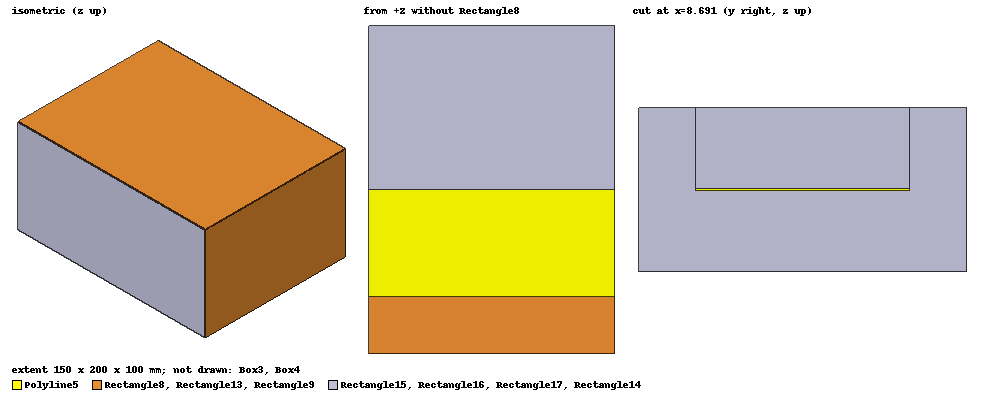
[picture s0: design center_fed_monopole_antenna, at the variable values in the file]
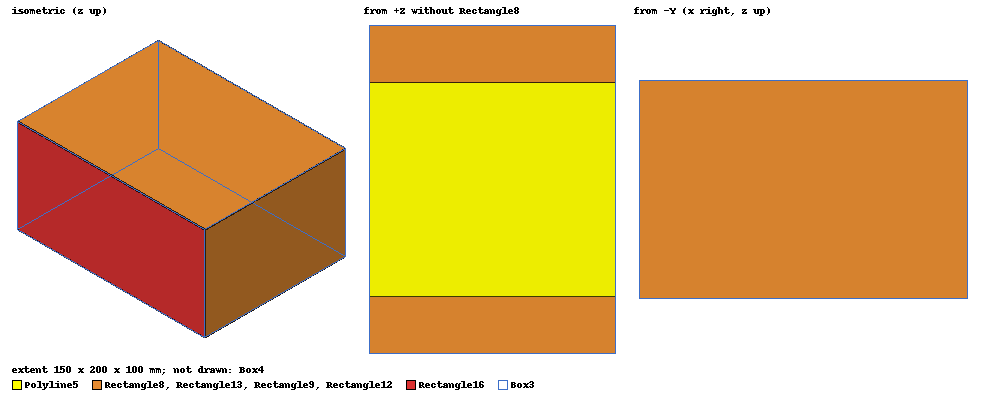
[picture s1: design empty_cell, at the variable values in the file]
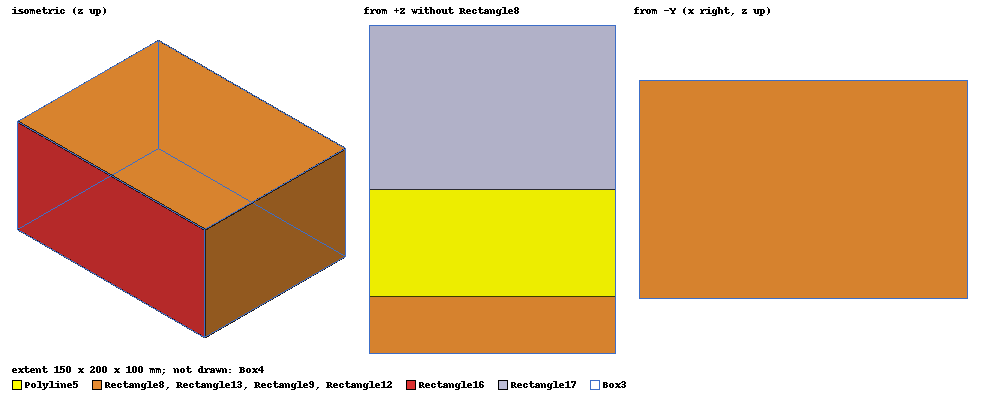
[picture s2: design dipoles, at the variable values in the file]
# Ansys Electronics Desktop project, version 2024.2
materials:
  vacuum: permittivity=1
  copper: permeability=0.999991 conductivity=58000000
  pec: conductivity=1e+30

design center_fed_monopole_antenna (HFSS, HFSS Terminal Network, model units mm)
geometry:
  coordinate_system RelativeCS8 = origin=(8.1906568mm, 0.2mm, 0.04546245mm) x=(1mm, 0mm, 0mm) y=(0mm, 1mm, 0mm)
  Rectangle7 = rectangle(corner=(-45mm, 0mm, 0mm), z_size=-50mm, x_size=95mm) in RelativeCS8
  Cylinder1 [copper] = cylinder(axis=Z, base_centre=(0mm, 0mm, 0mm), radius=0.1mm, height=-5mm) in RelativeCS8
  Cylinder2 = cylinder(axis=Z, base_centre=(1mm, 0mm, 0mm), radius=0.1mm, height=-1.5mm) in RelativeCS8
  Cylinder3 = cylinder(axis=X, base_centre=(1mm, 0mm, -1.5mm), radius=0.1mm, height=-1mm) in RelativeCS8
  Cylinder1.unite(Cylinder2, Cylinder3)
  Rectangle8 = rectangle(corner=(75mm, 100mm, 0mm), x_size=-150mm, y_size=-200mm) in RelativeCS8
  Rectangle9 = rectangle(corner=(75mm, 100mm, -100mm), z_size=100mm, x_size=-150mm) in RelativeCS8
  Rectangle10 = rectangle(corner=(-75mm, 100mm, -100mm), y_size=-200mm, z_size=100mm) in RelativeCS8
  Rectangle11 = rectangle(corner=(75mm, 100mm, 0mm), y_size=-200mm, z_size=-100mm) in RelativeCS8
  Rectangle12 = rectangle(corner=(75mm, -100mm, -100mm), z_size=100mm, x_size=-150mm) in RelativeCS8
  Rectangle13 = rectangle(corner=(75mm, 100mm, -100mm), x_size=-150mm, y_size=-200mm) in RelativeCS8
  Box3 [vacuum] = box(corner=(0mm, 0mm, 0mm), size=(300mm, 200mm, 100mm)) in RelativeCS8
  coordinate_system RelativeCS1 = origin=(0mm, 0mm, 50mm) x=(1mm, 0mm, 0mm) y=(0mm, 1mm, 0mm) in RelativeCS8
  Box3.scale(0.5, 1, 1) in RelativeCS1
  Polyline5 [copper] = polyline((0mm, 35mm, 0mm) (0mm, 165mm, 0mm)) in RelativeCS1
  Polyline5.sweep_along_vector((300mm, 0mm, 0mm)) in RelativeCS1
  Polyline5.sweep_along_vector((0mm, 0mm, 1mm)) in RelativeCS1
  Polyline5.move(0mm, 0mm, -0.5mm) in RelativeCS1
  Polyline5.scale(0.5, 1, 1) in RelativeCS1
  Rectangle14 = rectangle(corner=(75mm, 35mm, 0.5mm), y_size=130mm, z_size=49.5mm) in RelativeCS1
  Rectangle15 = rectangle(corner=(0mm, 200mm, -50mm), y_size=-200mm, z_size=100mm) in RelativeCS1
  Rectangle16 = rectangle(corner=(150mm, 200mm, -50mm), y_size=-200mm, z_size=100mm) in RelativeCS1
  coordinate_system RelativeCS3 = origin=(75mm, 165mm, 50mm) x=(1mm, 0mm, 0mm) y=(0mm, 1mm, 0mm) in RelativeCS1
  coordinate_system RelativeCS4 = origin=(0mm, -65mm, 0mm) x=(1mm, 0mm, 0mm) y=(0mm, 1mm, 0mm) in RelativeCS3
  coordinate_system RelativeCS6 = origin=(-7.9906568mm, -0.2mm, -4.9954624mm) x=(1mm, 0mm, 0mm) y=(0mm, 1mm, 0mm) in RelativeCS4
  Polyline6 = polyline(xyz in mm: (0, 0, 2.6607784) (-0.0011431925, 0, 3.9358706) (-0.0011431925, 0.1, 3.9358706) (0, 0.1, 2.6607784) (0, 0, 2.6607784), closed, covered) in RelativeCS6
  [Rectangle14, Rectangle15, Rectangle16, Cylinder1, Box3, Polyline5].move(-75mm, -100mm, -100mm) in RelativeCS8
  coordinate_system RelativeCS9 = origin=(-75mm, 100mm, -100mm) x=(1mm, 0mm, 0mm) y=(0mm, 1mm, 0mm) in RelativeCS8
  coordinate_system RelativeCS10 = origin=(0mm, 0mm, -60mm) x=(1mm, 0mm, 0mm) y=(0mm, 1mm, 0mm) in RelativeCS9
  Box4 [vacuum] = box(corner=(0mm, 0mm, 0mm), size=(150mm, -200mm, 220mm)) in RelativeCS10
  Cylinder1.move(0mm, -109.5mm, 247mm) in RelativeCS10
  Cylinder1.move(75mm, 144.5mm, -147mm) in RelativeCS10
  Cylinder1.move(1.4210855e-14mm, 0mm, -0.05mm) in RelativeCS10
  Box4.scale(1, 1.5, 1) in RelativeCS10
  Box4.move(0mm, 50mm, 0mm) in RelativeCS10
  Cylinder1.move(0mm, 65mm, 2.8421709e-14mm) in RelativeCS10
  coordinate_system RelativeCS11 = origin=(235mm, 130mm, 0mm) x=(1mm, 0mm, 0mm) y=(0mm, 1mm, 0mm) in RelativeCS10
  coordinate_system RelativeCS12 = origin=(-85mm, -165mm, 110.5mm) x=(1mm, 0mm, 0mm) y=(0mm, 1mm, 0mm) in RelativeCS11
  coordinate_system RelativeCS13 = origin=(-75mm, -65mm, 49.5mm) x=(1mm, 0mm, 0mm) y=(0mm, 1mm, 0mm) in RelativeCS12
  Cylinder4 [copper] = cylinder(axis=Z, base_centre=(75mm, -165.1mm, 159.95mm), radius=0.14142136mm, height=0.05mm) in RelativeCS13
  Cylinder4.move(0.041421356mm, 65.1mm, 0mm) in RelativeCS13
  Cylinder4.move(-0.041421356mm, -0.24142136mm, 0mm) in RelativeCS13
  coordinate_system RelativeCS14 = origin=(235mm, 130mm, 0mm) x=(1mm, 0mm, 0mm) y=(0mm, 1mm, 0mm) in RelativeCS13
  coordinate_system RelativeCS15 = origin=(-85mm, -165mm, 110.5mm) x=(1mm, 0mm, 0mm) y=(0mm, 1mm, 0mm) in RelativeCS14
  Cylinder4.move(1.2414214mm, 0.24142136mm, 2.8421709e-14mm) in RelativeCS15
  Cylinder4.move(-1.2414214mm, 0mm, 0mm) in RelativeCS15
  Cylinder4.move(-75.1mm, 100mm, -160.05mm) in RelativeCS13
  Cylinder4.move(0.1mm, 0mm, 0.05mm) in RelativeCS13
  Circle1 = circle(normal=Z, centre=(1mm, 0mm, 0mm), radius=0.25mm) in RelativeCS13
  Box4.subtract(Circle1)
  Cylinder5 [copper] = cylinder(axis=Z, base_centre=(1mm, 0mm, -0.05mm), radius=0.1mm, height=0.05mm) in RelativeCS13
  Circle2 = circle(normal=Z, centre=(1mm, 0mm, 0mm), radius=0.1mm) in RelativeCS13
  Circle3 = circle(normal=Z, centre=(1mm, 0mm, 0mm), radius=0.2mm) in RelativeCS13
  Box3.subtract(Circle3)
  Circle4 = circle(normal=Z, centre=(1mm, 0mm, 0mm), radius=0.2mm) in RelativeCS13
  Box3.subtract(Circle4)
  Circle5 = circle(normal=Z, centre=(1mm, 0mm, 0mm), radius=0.2mm) in RelativeCS13
  Box3.subtract(Circle5)
  Circle6 = circle(normal=Z, centre=(1mm, 0mm, 0mm), radius=0.2mm) in RelativeCS13
  Rectangle8.subtract(Circle6)
  Circle7 = circle(normal=Z, centre=(1mm, 0mm, 0mm), radius=0.2mm) in RelativeCS13
  pecCap1 [pec] = sweep_along_normal(Circle7.face(at (9.19066, 0.2, 0.0454624)), length=0.05mm)
  Polyline7 = polyline((-75mm, 0mm, 0mm) (-75mm, 0mm, -49.5mm)) in RelativeCS13
  Polyline8 = polyline((75mm, 0mm, 0mm) (75mm, 0mm, -49.5mm)) in RelativeCS13
  point Point1 = (0mm, 0mm, -24.75mm) in RelativeCS13
  coordinate_system RelativeCS16 = origin=(-75mm, 0mm, 0mm) x=(1mm, 0mm, 0mm) y=(0mm, 1mm, 0mm) in RelativeCS13
  point Point2 = (0mm, 0mm, -24.75mm) in RelativeCS16
  Rectangle17 = rectangle(corner=(0mm, 0mm, -24.75mm), x_size=150mm, y_size=100mm) in RelativeCS16
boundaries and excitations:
  PerfE1: Perfect E Objects=[Rectangle13, Rectangle12, Rectangle8, Rectangle9]
  Rad1: Radiation Objects=Box4
  Cylinder5_T1: Terminal port=1 Faces=Cylinder5.face(at (9.19066, 0.2, 0.0454624)) TerminalResistance=50ohm
  1: Wave Port Faces=Circle7.face(at (9.19066, 0.2, 0.0454624)) WavePortType=Terminal NumModes=1
  2: Wave Port Objects=Rectangle10 WavePortType=Modal NumModes=2 Modes{Mode1{IntLine{(-66.809343, 0.2, -49.45453755) -> (-66.809343, 0.2, 0.04546245)} CharImp=Zpi} Mode2{IntLine{(-66.809343, 65.2, -49.95453755) -> (-66.809343, 100.2, -49.95453755)} CharImp=Zpi}}
  3: Wave Port Objects=Rectangle11 WavePortType=Modal NumModes=2 Modes{Mode1{IntLine{(83.190657, 0.2, -49.45453755) -> (83.190657, 0.2, 0.04546245)} CharImp=Zpi} Mode2{IntLine{(83.190657, 65.2, -49.95453755) -> (83.190657, 100.2, -49.95453755)} CharImp=Zpi}}
  reference conductors: Rectangle8
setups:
  Setup1: HfssDrivenAuto AutoSolverSetting=Balanced Type=Interpolating
    sweep Sweep: 0GHz to 1GHz, 501 points;
  Setup2: HfssDriven Frequency=760MHz MaxDeltaS=0.02 MaximumPasses=6 MinimumPasses=1 MinimumConvergedPasses=1 PercentRefinement=30 BasisOrder=1 PortAccuracy=2 DrivenSolverType="Direct Solver"
    sweep Sweep: 0MHz to 1GHz, 401 points; Type=Interpolating InterpTolerance=0.5 InterpMaxSolns=250 MinSolvedFreq=0.01GHz PassivityErrorTolerance=0.0001
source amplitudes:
  1:1: (2600*2600) W 0deg
  2:1, 3:1: 0W 0deg
  2:2, 3:2: 0V 0deg
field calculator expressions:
  U_1 = Complex_Constant(0.000924799403163378, 0.000735161421858548)
  U_2 = Complex_Constant(-0.000551887143689607, -0.000778771115483979)
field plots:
  Vector_E1: E Field over Rectangle7.face on Setup1 : LastAdaptive at Freq=0.55GHz Phase=0deg
  Vector_H2: H Field over Rectangle7.face on Setup1 : LastAdaptive at Freq=0.55GHz Phase=0deg
  ABS_Q1: Q Fields over Cylinder1.face(all 8) on Setup1 : LastAdaptive at Freq=0.55GHz Phase=0deg
  Mag_Jsurf1: Jsurf over Cylinder1.face(all 8) on Setup1 : LastAdaptive at Freq=0.55GHz Phase=0deg
  Vector_E2: E Field over Rectangle17.face on Setup1 : LastAdaptive at Freq=0.55GHz Phase=0deg
  Vector_H1: H Field over Rectangle17.face on Setup1 : LastAdaptive at Freq=0.55GHz Phase=0deg
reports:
  Antenna to waveport 2: dB(St(2:1,Cylinder5_T1)), dB(St(2:2,Cylinder5_T1)) vs Freq on Setup1 : Sweep; markers MX1 at x=5.498366e+08
  Antenna to waveport 3: dB(St(3:1,Cylinder5_T1)), dB(St(3:2,Cylinder5_T1)) vs Freq on Setup1 : Sweep; markers MX1 at x=5.4981242e+08

design empty_cell (HFSS, HFSS Terminal Network, model units mm)
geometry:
  coordinate_system RelativeCS8 = origin=(8.1906568mm, 0.2mm, 0.04546245mm) x=(1mm, 0mm, 0mm) y=(0mm, 1mm, 0mm)
  Rectangle7 = rectangle(corner=(-45mm, 0mm, 0mm), z_size=-50mm, x_size=95mm) in RelativeCS8
  Rectangle8 = rectangle(corner=(75mm, 100mm, 0mm), x_size=-150mm, y_size=-200mm) in RelativeCS8
  Rectangle9 = rectangle(corner=(75mm, 100mm, -100mm), z_size=100mm, x_size=-150mm) in RelativeCS8
  Rectangle10 = rectangle(corner=(-75mm, 100mm, -100mm), y_size=-200mm, z_size=100mm) in RelativeCS8
  Rectangle11 = rectangle(corner=(75mm, 100mm, 0mm), y_size=-200mm, z_size=-100mm) in RelativeCS8
  Rectangle12 = rectangle(corner=(75mm, -100mm, -100mm), z_size=100mm, x_size=-150mm) in RelativeCS8
  Rectangle13 = rectangle(corner=(75mm, 100mm, -100mm), x_size=-150mm, y_size=-200mm) in RelativeCS8
  Box3 [vacuum] = box(corner=(0mm, 0mm, 0mm), size=(300mm, 200mm, 100mm)) in RelativeCS8
  coordinate_system RelativeCS1 = origin=(0mm, 0mm, 50mm) x=(1mm, 0mm, 0mm) y=(0mm, 1mm, 0mm) in RelativeCS8
  Box3.scale(0.5, 1, 1) in RelativeCS1
  Polyline5 [copper] = polyline((0mm, 35mm, 0mm) (0mm, 165mm, 0mm)) in RelativeCS1
  Polyline5.sweep_along_vector((300mm, 0mm, 0mm)) in RelativeCS1
  Polyline5.sweep_along_vector((0mm, 0mm, 1mm)) in RelativeCS1
  Polyline5.move(0mm, 0mm, -0.5mm) in RelativeCS1
  Polyline5.scale(0.5, 1, 1) in RelativeCS1
  Rectangle14 = rectangle(corner=(75mm, 35mm, 0.5mm), y_size=130mm, z_size=49.5mm) in RelativeCS1
  Rectangle15 = rectangle(corner=(0mm, 200mm, -50mm), y_size=-200mm, z_size=100mm) in RelativeCS1
  Rectangle16 = rectangle(corner=(150mm, 200mm, -50mm), y_size=-200mm, z_size=100mm) in RelativeCS1
  coordinate_system RelativeCS3 = origin=(75mm, 165mm, 50mm) x=(1mm, 0mm, 0mm) y=(0mm, 1mm, 0mm) in RelativeCS1
  coordinate_system RelativeCS4 = origin=(0mm, -65mm, 0mm) x=(1mm, 0mm, 0mm) y=(0mm, 1mm, 0mm) in RelativeCS3
  coordinate_system RelativeCS6 = origin=(-7.9906568mm, -0.2mm, -4.9954624mm) x=(1mm, 0mm, 0mm) y=(0mm, 1mm, 0mm) in RelativeCS4
  Polyline6 = polyline(xyz in mm: (0, 0, 2.6607784) (-0.0011431925, 0, 3.9358706) (-0.0011431925, 0.1, 3.9358706) (0, 0.1, 2.6607784) (0, 0, 2.6607784), closed, covered) in RelativeCS6
  [Rectangle14, Rectangle15, Rectangle16, Box3, Polyline5].move(-75mm, -100mm, -100mm) in RelativeCS8
  coordinate_system RelativeCS9 = origin=(-75mm, 100mm, -100mm) x=(1mm, 0mm, 0mm) y=(0mm, 1mm, 0mm) in RelativeCS8
  coordinate_system RelativeCS10 = origin=(0mm, 0mm, -60mm) x=(1mm, 0mm, 0mm) y=(0mm, 1mm, 0mm) in RelativeCS9
  Box4 [vacuum] = box(corner=(0mm, 0mm, 0mm), size=(150mm, -200mm, 220mm)) in RelativeCS10
  Box4.scale(1, 1.5, 1) in RelativeCS10
  Box4.move(0mm, 50mm, 0mm) in RelativeCS10
  coordinate_system RelativeCS11 = origin=(150mm, 0mm, 60mm) x=(1mm, 0mm, 0mm) y=(0mm, 1mm, 0mm) in RelativeCS10
  coordinate_system RelativeCS12 = origin=(0mm, -35mm, 50.5mm) x=(1mm, 0mm, 0mm) y=(0mm, 1mm, 0mm) in RelativeCS11
  Polyline7 = polyline((0mm, -65mm, 0mm) (0mm, -65mm, 49.5mm)) in RelativeCS12
  Polyline7_1 = Polyline7.duplicate_along_line(step=(-150mm, 0mm, 0mm), total=2) in RelativeCS12
  point Point1 = (-75mm, -65mm, 24.75mm) in RelativeCS12
  coordinate_system RelativeCS13 = origin=(0mm, 35mm, -85mm) x=(1mm, 0mm, 0mm) y=(0mm, 1mm, 0mm) in RelativeCS12
  coordinate_system RelativeCS14 = origin=(0mm, -5mm, -20mm) x=(1mm, 0mm, 0mm) y=(0mm, 1mm, 0mm) in RelativeCS13
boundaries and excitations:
  PerfE1: Perfect E Objects=[Rectangle13, Rectangle12, Rectangle8, Rectangle9]
  Rad1: Radiation Objects=Box4
  1: Wave Port Objects=Rectangle15 WavePortType=Modal NumModes=2 Modes{Mode1{IntLine{(-66.809343, 0.2, -49.45453755) -> (-66.809343, 0.2, 0.04546245)} CharImp=Zpi} Mode2{IntLine{(-66.809343, -64.8, -49.95453755) -> (-66.809343, -99.8, -49.954538)} CharImp=Zpi}}
  2: Wave Port Objects=Rectangle16 WavePortType=Modal NumModes=2 Modes{Mode1{IntLine{(83.190657, 0.2, -49.45453755) -> (83.190657, 0.2, 0.04546245)} CharImp=Zpi} Mode2{IntLine{(83.190657, -64.8, -49.95453755) -> (83.190657, -99.8, -49.954538)} CharImp=Zpi}}
  reference conductors: Rectangle8
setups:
  Setup1: HfssDrivenAuto AutoSolverSetting=Balanced Type=Interpolating
    sweep Sweep: 0GHz to 3GHz, 501 points;
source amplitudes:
  1:1: 1V 0deg
  1:2, 2:1, 2:2: 0V 0deg
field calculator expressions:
  U_2 = Complex_Constant(9.89491006303791, 0.019771581817983)
  U_1 = Complex_Constant(-1.62457557524812, -9.88575991314487)
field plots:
  Vector_E1: E Field over Rectangle7.face on Setup1 : Sweep at Freq=3GHz Phase=0deg
  Vector_H2: H Field over Rectangle7.face on Setup1 : LastAdaptive at Freq=0.55GHz Phase=0deg
  Vector_E2: E Field over Rectangle14.face(at (8.19066, 0.2, -24.7045)) on Setup1 : Sweep at Freq=3GHz Phase=0deg
  Vector_E3: E Field over Rectangle16.face(at (83.1907, 0.2, -49.9545)) on Setup1 : Sweep at Freq=1GHz Phase=0deg
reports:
  Propagation  of TEM and TE01 modes: dB(St(1:2,2:2)) vs Freq on Setup1 : Sweep; dB(St(1:1,2:1)) vs Freq; markers MX1 at x=7.5088132e+08

design dipoles (HFSS, HFSS Terminal Network, model units mm)
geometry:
  coordinate_system RelativeCS8 = origin=(8.1906568mm, 0.2mm, 0.04546245mm) x=(1mm, 0mm, 0mm) y=(0mm, 1mm, 0mm)
  Rectangle7 = rectangle(corner=(-45mm, 0mm, 0mm), z_size=-50mm, x_size=95mm) in RelativeCS8
  Rectangle8 = rectangle(corner=(75mm, 100mm, 0mm), x_size=-150mm, y_size=-200mm) in RelativeCS8
  Rectangle9 = rectangle(corner=(75mm, 100mm, -100mm), z_size=100mm, x_size=-150mm) in RelativeCS8
  Rectangle12 = rectangle(corner=(75mm, -100mm, -100mm), z_size=100mm, x_size=-150mm) in RelativeCS8
  Rectangle13 = rectangle(corner=(75mm, 100mm, -100mm), x_size=-150mm, y_size=-200mm) in RelativeCS8
  Box3 [vacuum] = box(corner=(0mm, 0mm, 0mm), size=(300mm, 200mm, 100mm)) in RelativeCS8
  coordinate_system RelativeCS1 = origin=(0mm, 0mm, 50mm) x=(1mm, 0mm, 0mm) y=(0mm, 1mm, 0mm) in RelativeCS8
  Box3.scale(0.5, 1, 1) in RelativeCS1
  Polyline5 [copper] = polyline((0mm, 35mm, 0mm) (0mm, 165mm, 0mm)) in RelativeCS1
  Polyline5.sweep_along_vector((300mm, 0mm, 0mm)) in RelativeCS1
  Polyline5.sweep_along_vector((0mm, 0mm, 1mm)) in RelativeCS1
  Polyline5.move(0mm, 0mm, -0.5mm) in RelativeCS1
  Polyline5.scale(0.5, 1, 1) in RelativeCS1
  Rectangle14 = rectangle(corner=(75mm, 35mm, 0.5mm), y_size=130mm, z_size=49.5mm) in RelativeCS1
  Rectangle15 = rectangle(corner=(0mm, 200mm, -50mm), y_size=-200mm, z_size=100mm) in RelativeCS1
  Rectangle16 = rectangle(corner=(150mm, 200mm, -50mm), y_size=-200mm, z_size=100mm) in RelativeCS1
  coordinate_system RelativeCS3 = origin=(75mm, 165mm, 50mm) x=(1mm, 0mm, 0mm) y=(0mm, 1mm, 0mm) in RelativeCS1
  coordinate_system RelativeCS4 = origin=(0mm, -65mm, 0mm) x=(1mm, 0mm, 0mm) y=(0mm, 1mm, 0mm) in RelativeCS3
  coordinate_system RelativeCS6 = origin=(-7.9906568mm, -0.2mm, -4.9954624mm) x=(1mm, 0mm, 0mm) y=(0mm, 1mm, 0mm) in RelativeCS4
  Polyline6 = polyline(xyz in mm: (0, 0, 2.6607784) (-0.0011431925, 0, 3.9358706) (-0.0011431925, 0.1, 3.9358706) (0, 0.1, 2.6607784) (0, 0, 2.6607784), closed, covered) in RelativeCS6
  [Rectangle14, Rectangle15, Rectangle16, Box3, Polyline5].move(-75mm, -100mm, -100mm) in RelativeCS8
  coordinate_system RelativeCS9 = origin=(-75mm, 100mm, -100mm) x=(1mm, 0mm, 0mm) y=(0mm, 1mm, 0mm) in RelativeCS8
  coordinate_system RelativeCS10 = origin=(0mm, 0mm, -60mm) x=(1mm, 0mm, 0mm) y=(0mm, 1mm, 0mm) in RelativeCS9
  Box4 [vacuum] = box(corner=(0mm, 0mm, 0mm), size=(150mm, -200mm, 220mm)) in RelativeCS10
  Box4.scale(1, 1.5, 1) in RelativeCS10
  Box4.move(0mm, 50mm, 0mm) in RelativeCS10
  coordinate_system RelativeCS11 = origin=(235mm, 130mm, 0mm) x=(1mm, 0mm, 0mm) y=(0mm, 1mm, 0mm) in RelativeCS10
  coordinate_system RelativeCS12 = origin=(-85mm, -165mm, 110.5mm) x=(1mm, 0mm, 0mm) y=(0mm, 1mm, 0mm) in RelativeCS11
  coordinate_system RelativeCS13 = origin=(-75mm, -130mm, 49.5mm) x=(1mm, 0mm, 0mm) y=(0mm, 1mm, 0mm) in RelativeCS12
  coordinate_system RelativeCS14 = origin=(0mm, 65mm, 0mm) x=(1mm, 0mm, 0mm) y=(0mm, 1mm, 0mm) in RelativeCS13
  Polyline7 = polyline((0mm, -65mm, 0mm) (0mm, -65mm, 49.5mm)) in RelativeCS14
  Polyline7_1 = Polyline7.duplicate_along_line(step=(-150mm, 0mm, 0mm), total=2) in RelativeCS14
  [Polyline7, Polyline7_1].move(75mm, 65mm, -49.5mm) in RelativeCS14
  point Point1 = (0mm, 0mm, -24.75mm) in RelativeCS14
  point Point2 = (-66.809343mm, 0.2mm, -24.70453755mm)
  point Point3 = (83.190657mm, 0.2mm, -24.70453755mm)
  Rectangle17 = rectangle(corner=(-66.809343mm, 0.2mm, -24.70453755mm), x_size=150mm, y_size=100mm)
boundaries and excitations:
  PerfE1: Perfect E Objects=[Rectangle13, Rectangle12, Rectangle8, Rectangle9]
  Rad1: Radiation Objects=Box4
  IncHDWave1: Hertzian-Dipole Incident Wave IsCartesian EoX=0 EoY=0 EoZ=1 kX=0 kY=0 kZ=1 OriginX=8.190656807mm OriginY=0.2mm OriginZ="(-24.75+0.04546245) mm" SphereRadius=0.01mm IsElectricDipole=true
  IncHDWave2: Hertzian-Dipole Incident Wave IsCartesian EoX=0 EoY=1 EoZ=0 kX=0 kY=0 kZ=1 OriginX=8.190656807mm OriginY=0.2mm OriginZ="(-24.75+0.04546245) mm" SphereRadius=0.01mm IsElectricDipole=false
  1: Wave Port Objects=Rectangle15 WavePortType=Modal NumModes=1 Modes{Mode1{IntLine{(-66.809343, 0.2, -49.45453755) -> (-66.809343, 0.2, 0.04546245)} CharImp=Zpi}}
  2: Wave Port Objects=Rectangle16 WavePortType=Modal NumModes=1 Modes{Mode1{IntLine{(83.190657, 0.2, -49.45453755) -> (83.190657, 0.2, 0.04546245)} CharImp=Zpi}}
  reference conductors: Rectangle8
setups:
  Setup1: HfssDrivenAuto AutoSolverSetting=Balanced Type=Discrete
    sweep Sweep: point 0.55GHz;
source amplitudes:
  IncHDWave1:1: 0.001099 -124.989deg
  IncHDWave2:1: 3.74584Vm -34.9893deg
  1:1, 2:1: 0W 0deg
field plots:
  Vector_H2: H Field over Rectangle7.face on Setup1 : LastAdaptive at Freq=0.55GHz Phase=0deg
  Vector_E2: E Field over Rectangle7.face on Setup1 : LastAdaptive at Freq=0.55GHz Phase=0deg
  Vector_E1: E Field over Rectangle16.face(at (83.1907, 0.2, -49.9545)) on Setup1 : LastAdaptive at Freq=0.55GHz Phase=0deg
  Vector_H1: H Field over Rectangle17.face on Setup1 : LastAdaptive at Freq=0.55GHz Phase=0deg
  Vector_H3: H Field over Rectangle16.face(at (83.1907, 0.2, -49.9545)) on Setup1 : LastAdaptive at Freq=0.55GHz Phase=0deg
